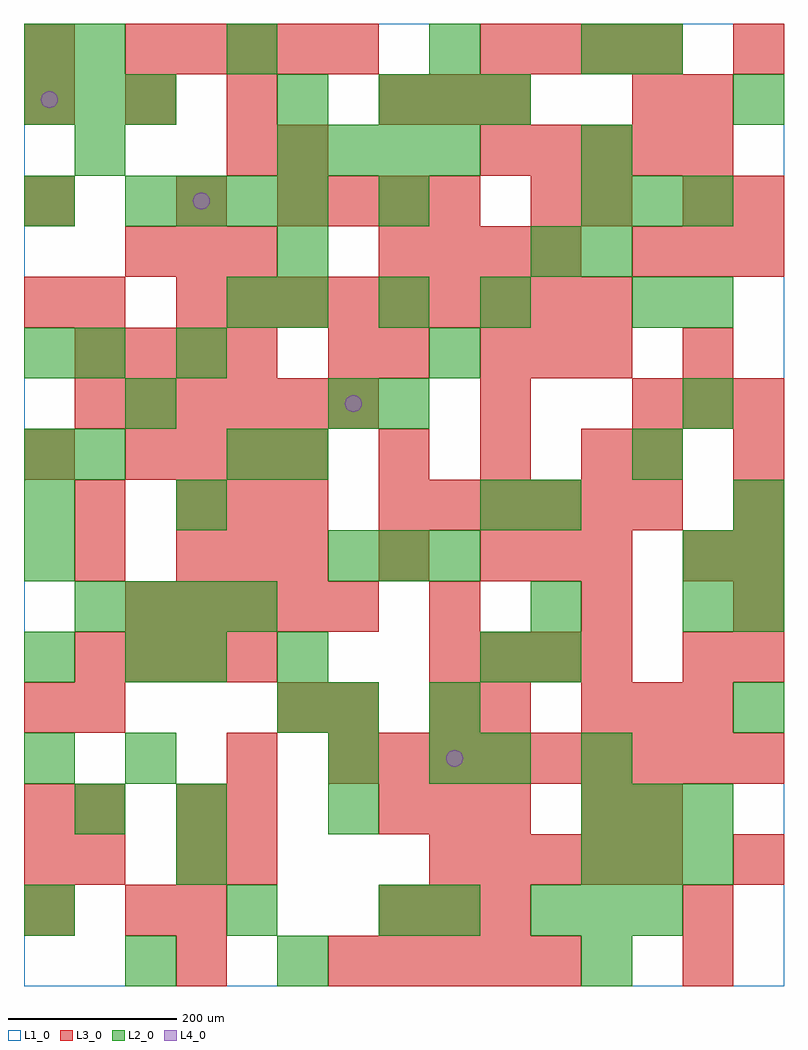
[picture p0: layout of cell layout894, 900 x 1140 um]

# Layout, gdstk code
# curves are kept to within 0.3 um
import gdstk
lib = gdstk.Library(unit=1e-6, precision=1e-09)
def R(c, l, rs):  # rectangles x0, y0, x1, y1
    for r in rs: c.add(gdstk.rectangle(r[:2], r[2:], *l))
def A(c, l, x, y, w, h, nx, ny, dx, dy):  # array of equal rectangles
    R(c, l, [(x+i*dx, y+j*dy, x+i*dx+w, y+j*dy+h) for i in range(nx) for j in range(ny)])
def P(c, l, *ps):  # polygons
    for p in ps: c.add(gdstk.Polygon(p, *l))
L1_0 = (1, 0)
L2_0 = (2, 0)
L3_0 = (3, 0)
L4_0 = (4, 0)

layout894 = lib.new_cell('layout894')
R(layout894, L1_0, [(0,0,900,1140)])
A(layout894, L2_0, 600, 60, 60, 60, 3, 1, 60, 0)
A(layout894, L2_0, 660, 120, 60, 60, 3, 2, 60, 60)
A(layout894, L2_0, 180, 180, 60, 60, 1, 4, 0, 180)
A(layout894, L2_0, 360, 180, 60, 60, 1, 3, 0, 60)
A(layout894, L2_0, 0, 240, 60, 60, 1, 3, 0, 120)
A(layout894, L2_0, 300, 360, 60, 60, 1, 3, 0, 240)
A(layout894, L2_0, 60, 420, 60, 60, 4, 1, 60, 0)
A(layout894, L2_0, 840, 420, 60, 60, 1, 3, 0, 60)
A(layout894, L2_0, 360, 480, 60, 60, 3, 1, 60, 0)
A(layout894, L2_0, 0, 720, 60, 60, 1, 3, 0, 180)
A(layout894, L2_0, 300, 780, 60, 60, 3, 1, 120, 0)
A(layout894, L2_0, 660, 840, 60, 60, 1, 3, 0, 120)
A(layout894, L2_0, 120, 900, 60, 60, 4, 1, 60, 0)
A(layout894, L2_0, 660, 900, 60, 60, 3, 1, 60, 0)
A(layout894, L2_0, 300, 960, 60, 60, 4, 1, 60, 0)
A(layout894, L2_0, 0, 1020, 60, 60, 3, 1, 60, 0)
A(layout894, L2_0, 420, 1020, 60, 60, 3, 1, 60, 0)
R(layout894, L2_0, [(120,0,180,60), (300,0,360,60), (660,0,720,60), (0,60,60,120), (240,60,300,120), (420,60,480,120), (480,60,540,120), (180,120,240,180), (60,180,120,240), (120,240,180,300), (480,240,540,300), (540,240,600,300), (660,240,720,300), (300,300,360,360), (480,300,540,360), (840,300,900,360), (120,360,180,420), (540,360,600,420), (600,360,660,420), (600,420,660,480), (780,420,840,480), (780,480,840,540), (0,540,60,600), (540,540,600,600), (600,540,660,600), (0,600,60,660), (60,600,120,660), (240,600,300,660), (720,600,780,660), (120,660,180,720), (360,660,420,720), (420,660,480,720), (780,660,840,720), (60,720,120,780), (480,720,540,780), (240,780,300,840), (720,780,780,840), (780,780,840,840), (600,840,660,900), (420,900,480,960), (60,960,120,1020), (300,1020,360,1080), (840,1020,900,1080), (60,1080,120,1140), (240,1080,300,1140), (480,1080,540,1140), (720,1080,780,1140)])
A(layout894, L3_0, 180, 0, 60, 60, 1, 4, 0, 60)
A(layout894, L3_0, 360, 0, 60, 60, 5, 1, 60, 0)
A(layout894, L3_0, 0, 60, 60, 60, 1, 3, 0, 60)
A(layout894, L3_0, 420, 60, 60, 60, 3, 2, 60, 120)
A(layout894, L3_0, 240, 120, 60, 60, 1, 3, 0, 60)
A(layout894, L3_0, 480, 120, 60, 60, 5, 1, 60, 0)
A(layout894, L3_0, 720, 180, 60, 60, 1, 3, 0, 420)
A(layout894, L3_0, 360, 240, 60, 60, 9, 1, 60, 0)
A(layout894, L3_0, 660, 300, 60, 60, 3, 1, 60, 0)
A(layout894, L3_0, 60, 360, 60, 60, 4, 2, 60, 360)
A(layout894, L3_0, 480, 360, 60, 60, 4, 1, 60, 0)
A(layout894, L3_0, 120, 420, 60, 60, 5, 2, 60, 660)
A(layout894, L3_0, 480, 420, 60, 60, 3, 1, 180, 0)
A(layout894, L3_0, 180, 480, 60, 60, 3, 2, 60, 60)
A(layout894, L3_0, 540, 480, 60, 60, 3, 2, 60, 240)
A(layout894, L3_0, 840, 480, 60, 60, 1, 3, 0, 60)
A(layout894, L3_0, 420, 540, 60, 60, 6, 1, 60, 0)
A(layout894, L3_0, 120, 600, 60, 60, 4, 1, 60, 0)
A(layout894, L3_0, 420, 600, 60, 60, 3, 1, 120, 0)
A(layout894, L3_0, 60, 660, 60, 60, 6, 1, 60, 0)
A(layout894, L3_0, 720, 660, 60, 60, 3, 2, 60, 180)
A(layout894, L3_0, 180, 780, 60, 60, 9, 1, 60, 0)
A(layout894, L3_0, 120, 840, 60, 60, 3, 1, 60, 0)
A(layout894, L3_0, 420, 840, 60, 60, 4, 1, 60, 0)
A(layout894, L3_0, 300, 900, 60, 60, 4, 1, 60, 0)
A(layout894, L3_0, 540, 960, 60, 60, 5, 1, 60, 0)
A(layout894, L3_0, 0, 1020, 60, 60, 3, 1, 120, 0)
A(layout894, L3_0, 420, 1020, 60, 60, 3, 1, 60, 0)
A(layout894, L3_0, 540, 1080, 60, 60, 4, 1, 60, 0)
R(layout894, L3_0, [(780,0,840,60), (120,60,180,120), (780,60,840,120), (60,120,120,180), (840,120,900,180), (60,180,120,240), (660,180,720,240), (0,300,60,360), (60,300,120,360), (300,300,360,360), (360,300,420,360), (480,300,540,360), (540,300,600,360), (780,360,840,420), (840,360,900,420), (60,480,120,540), (420,480,480,540), (780,480,840,540), (60,540,120,600), (0,600,60,660), (540,660,600,720), (360,720,420,780), (420,720,480,780), (780,720,840,780), (0,780,60,840), (60,780,120,840), (0,900,60,960), (180,900,240,960), (600,900,660,960), (660,900,720,960), (780,900,840,960), (840,900,900,960), (240,960,300,1020), (300,960,360,1020), (780,1020,840,1080), (0,1080,60,1140), (840,1080,900,1140)])
P(layout894, L4_0, [(40,1050),(39.239,1053.827),(37.071,1057.071),(33.827,1059.239),(30,1060),(26.173,1059.239),(22.929,1057.071),(20.761,1053.827),(20,1050),(20.761,1046.173),(22.929,1042.929),(26.173,1040.761),(30,1040),(33.827,1040.761),(37.071,1042.929),(39.239,1046.173)],
  [(220,930),(219.239,933.827),(217.071,937.071),(213.827,939.239),(210,940),(206.173,939.239),(202.929,937.071),(200.761,933.827),(200,930),(200.761,926.173),(202.929,922.929),(206.173,920.761),(210,920),(213.827,920.761),(217.071,922.929),(219.239,926.173)],
  [(400,690),(399.239,693.827),(397.071,697.071),(393.827,699.239),(390,700),(386.173,699.239),(382.929,697.071),(380.761,693.827),(380,690),(380.761,686.173),(382.929,682.929),(386.173,680.761),(390,680),(393.827,680.761),(397.071,682.929),(399.239,686.173)],
  [(520,270),(519.239,273.827),(517.071,277.071),(513.827,279.239),(510,280),(506.173,279.239),(502.929,277.071),(500.761,273.827),(500,270),(500.761,266.173),(502.929,262.929),(506.173,260.761),(510,260),(513.827,260.761),(517.071,262.929),(519.239,266.173)])

lib.write_gds('layout894.gds')
